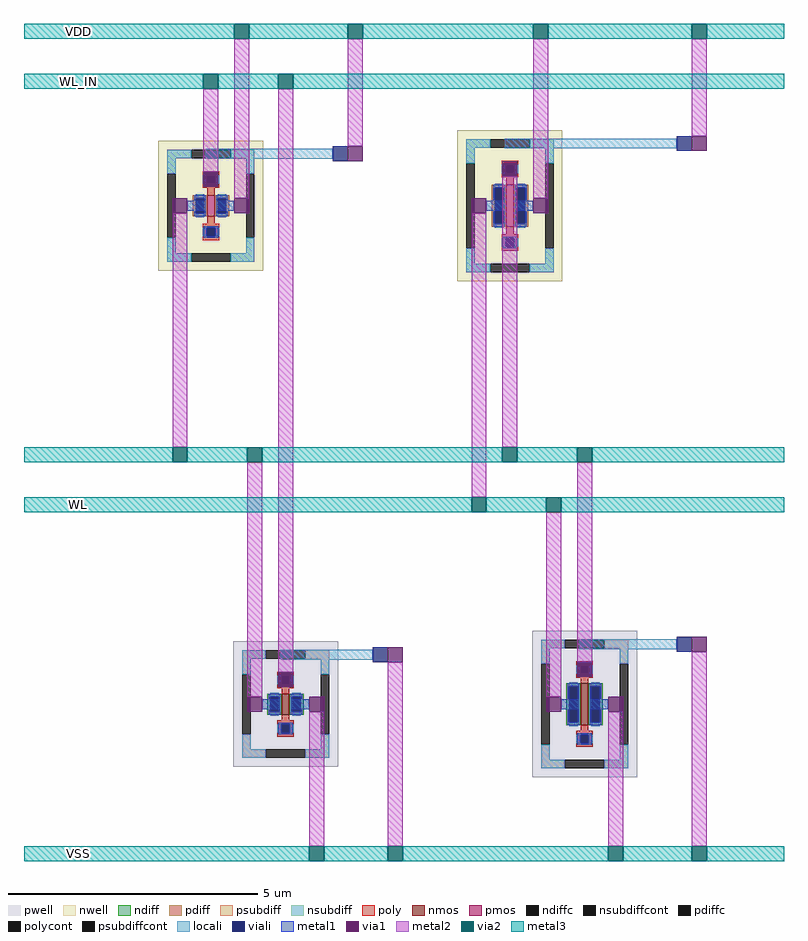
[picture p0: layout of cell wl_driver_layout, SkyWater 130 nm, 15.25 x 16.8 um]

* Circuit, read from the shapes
.subckt wl_driver_layout VDD VSS WL_IN WL
XM1 VSS WL_IN n1 VSS sky130_fd_pr__nfet_01v8 w=0.42 l=0.15
XM2 VSS n1 WL VSS sky130_fd_pr__nfet_01v8 w=0.84 l=0.15
XM3 VDD WL_IN n1 VDD sky130_fd_pr__pfet_01v8 w=0.42 l=0.15
XM4 VDD n1 WL VDD sky130_fd_pr__pfet_01v8 w=0.84 l=0.15
.ends

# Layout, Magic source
magic
tech sky130A
magscale 1 2
<< locali >>
rect 280 -812 790 -772
rect 1480 -770 2170 -730
rect 580 -2821 950 -2781
rect 1780 -2779 2170 -2739
<< viali >>
rect 790 -822 850 -762
rect 2170 -780 2230 -720
rect 950 -2831 1010 -2771
rect 2170 -2789 2230 -2729
<< metal1 >>
rect 206 -1020 276 -980
rect 324 -1020 394 -980
rect 1406 -1020 1476 -980
rect 1524 -1020 1594 -980
rect 506 -3020 576 -2980
rect 624 -3020 694 -2980
rect 1706 -3020 1776 -2980
rect 1824 -3020 1894 -2980
<< via1 >>
rect 850 -822 910 -762
rect 2230 -780 2290 -720
rect 270 -924 330 -864
rect 1470 -882 1530 -822
rect 146 -1030 206 -970
rect 394 -1030 454 -970
rect 1346 -1030 1406 -970
rect 1594 -1030 1654 -970
rect 1010 -2831 1070 -2771
rect 2230 -2789 2290 -2729
rect 570 -2933 630 -2873
rect 1770 -2891 1830 -2831
rect 446 -3030 506 -2970
rect 694 -3030 754 -2970
rect 1646 -3030 1706 -2970
rect 1894 -3030 1954 -2970
<< metal2 >>
rect 270 -864 330 -530
rect 394 -970 454 -330
rect 146 -1970 206 -1030
rect 446 -2970 506 -2030
rect 570 -2873 630 -530
rect 850 -762 910 -330
rect 1346 -2170 1406 -1030
rect 1470 -1970 1530 -882
rect 1594 -970 1654 -330
rect 2230 -720 2290 -330
rect 694 -3570 754 -3030
rect 1010 -3570 1070 -2831
rect 1646 -2970 1706 -2230
rect 1770 -2831 1830 -2030
rect 1894 -3570 1954 -3030
rect 2230 -3570 2290 -2789
<< via2 >>
rect 394 -330 454 -270
rect 270 -530 330 -470
rect 850 -330 910 -270
rect 570 -530 630 -470
rect 146 -2030 206 -1970
rect 446 -2030 506 -1970
rect 1594 -330 1654 -270
rect 2230 -330 2290 -270
rect 1470 -2030 1530 -1970
rect 1770 -2030 1830 -1970
rect 1346 -2230 1406 -2170
rect 1646 -2230 1706 -2170
rect 694 -3630 754 -3570
rect 1010 -3630 1070 -3570
rect 1894 -3630 1954 -3570
rect 2230 -3630 2290 -3570
<< metal3 >>
rect -450 -330 394 -270
rect 454 -330 850 -270
rect 910 -330 1594 -270
rect 1654 -330 2230 -270
rect 2290 -330 2600 -270
rect -450 -530 270 -470
rect 330 -530 570 -470
rect 630 -530 2600 -470
rect -450 -2030 146 -1970
rect 206 -2030 446 -1970
rect 506 -2030 1470 -1970
rect 1530 -2030 1770 -1970
rect 1830 -2030 2600 -1970
rect -450 -2230 1346 -2170
rect 1406 -2230 1646 -2170
rect 1706 -2230 2600 -2170
rect -450 -3630 694 -3570
rect 754 -3630 1010 -3570
rect 1070 -3630 1894 -3570
rect 1954 -3630 2230 -3570
rect 2290 -3630 2600 -3570
use sky130_fd_pr__nfet_01v8_CKEDMB  XMN1
transform 1 0 600 0 1 -3000
box -211 -252 211 252
use sky130_fd_pr__nfet_01v8_AWEERL  XMN2
transform 1 0 1800 0 1 -3000
box -211 -294 211 294
use sky130_fd_pr__pfet_01v8_RCZQRH  XMP1
transform 1 0 300 0 1 -1000
box -211 -261 211 261
use sky130_fd_pr__pfet_01v8_XM5RRH  XMP2
transform 1 0 1500 0 1 -1000
box -211 -303 211 303
<< labels >>
rlabel metal3 -255 -325 -205 -275 0 VDD
port 0 n
rlabel metal3 -255 -3625 -205 -3575 0 VSS
port 1 n
rlabel metal3 -255 -525 -205 -475 0 WL_IN
port 2 n
rlabel metal3 -255 -2225 -205 -2175 0 WL
port 3 n
<< end >>

# cell sky130_fd_pr__nfet_01v8_CKEDMB: kit device sky130_fd_pr__nfet_01v8, w 0.42 l 0.15 m 1 nf 1 diffcov 100 polycov 100 guard 1 glc 1 grc 1 gtc 1 gbc 1 tbcov 100 rlcov 100 topc 1 botc 1 poverlap 0 doverlap 1 lmin 0.15 wmin 0.42 class mosfet compatible {sky130_fd_pr__nfet_01v8 sky130_fd_pr__nfet_01v8_lvt sky130_fd_bs_flash__special_sonosfet_star sky130_fd_pr__nfet_g5v0d10v5 sky130_fd_pr__nfet_05v0_nvt sky130_fd_pr__nfet_03v3_nvt} full_metal 1 viasrc 100 viadrn 100 viagate 100 viagb 0 viagr 0 viagl 0 viagt 0

# cell sky130_fd_pr__nfet_01v8_AWEERL: kit device sky130_fd_pr__nfet_01v8, w 0.84 l 0.15 m 1 nf 1 diffcov 100 polycov 100 guard 1 glc 1 grc 1 gtc 1 gbc 1 tbcov 100 rlcov 100 topc 1 botc 1 poverlap 0 doverlap 1 lmin 0.15 wmin 0.42 class mosfet compatible {sky130_fd_pr__nfet_01v8 sky130_fd_pr__nfet_01v8_lvt sky130_fd_bs_flash__special_sonosfet_star sky130_fd_pr__nfet_g5v0d10v5 sky130_fd_pr__nfet_05v0_nvt sky130_fd_pr__nfet_03v3_nvt} full_metal 1 viasrc 100 viadrn 100 viagate 100 viagb 0 viagr 0 viagl 0 viagt 0

# cell sky130_fd_pr__pfet_01v8_RCZQRH: kit device sky130_fd_pr__pfet_01v8, w 0.42 l 0.15 m 1 nf 1 diffcov 100 polycov 100 guard 1 glc 1 grc 1 gtc 1 gbc 1 tbcov 100 rlcov 100 topc 1 botc 1 poverlap 0 doverlap 1 lmin 0.15 wmin 0.42 class mosfet compatible {sky130_fd_pr__pfet_01v8 sky130_fd_pr__pfet_01v8_lvt sky130_fd_pr__pfet_01v8_hvt sky130_fd_pr__pfet_g5v0d10v5} full_metal 1 viasrc 100 viadrn 100 viagate 100 viagb 0 viagr 0 viagl 0 viagt 0

# cell sky130_fd_pr__pfet_01v8_XM5RRH: kit device sky130_fd_pr__pfet_01v8, w 0.84 l 0.15 m 1 nf 1 diffcov 100 polycov 100 guard 1 glc 1 grc 1 gtc 1 gbc 1 tbcov 100 rlcov 100 topc 1 botc 1 poverlap 0 doverlap 1 lmin 0.15 wmin 0.42 class mosfet compatible {sky130_fd_pr__pfet_01v8 sky130_fd_pr__pfet_01v8_lvt sky130_fd_pr__pfet_01v8_hvt sky130_fd_pr__pfet_g5v0d10v5} full_metal 1 viasrc 100 viadrn 100 viagate 100 viagb 0 viagr 0 viagl 0 viagt 0
